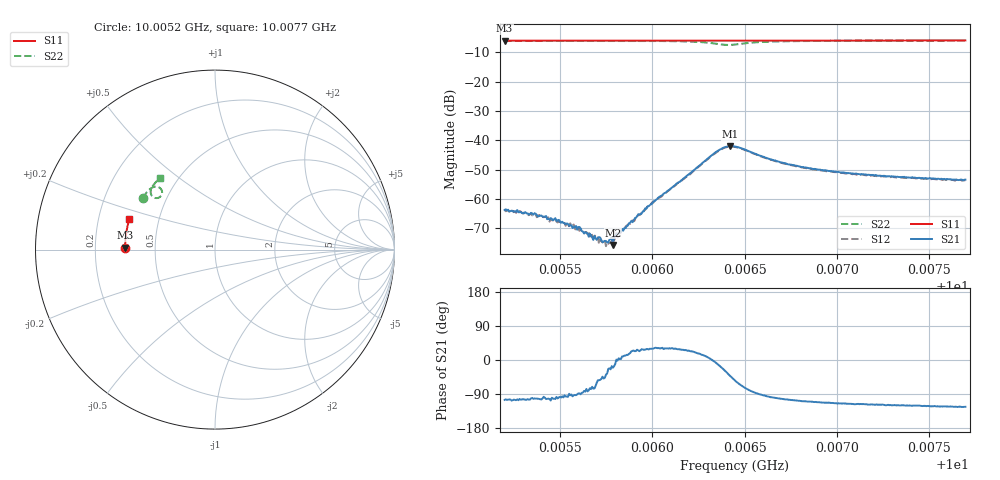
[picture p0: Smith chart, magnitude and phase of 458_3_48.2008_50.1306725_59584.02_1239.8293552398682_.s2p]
#  HZ  S  RI  R  50.00
! Rohde & Schwarz Vector Network Analyzer
! Rohde-Schwarz,ZNB20-2Port,1311601062101988,3.16
! Created: UTC 3/20/2024, 11:56:38 AM
! freq[Hz]  re:S11  im:S11  re:S21  im:S21  re:S12  im:S12  re:S22  im:S22
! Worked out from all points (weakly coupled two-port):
!   401 points, 10.0052 GHz to 10.0077 GHz, reference 50 ohm
!   highest |S21| = -41.99 dB at 10.00642 GHz (marker M1); lowest = -75.7 dB at 10.00579 GHz (marker M2)
!   lowest |S11| = -6.0 dB at 10.0052 GHz (marker M3), VSWR 3.01, Z = 16.6 + j0.438 ohm
!   |S11| at or under -10 dB: nowhere
!   |S22| runs from -7.4 to -6.0 dB; largest |S21 - S12| = 0.0005
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1.0005198e10  -0.5005 0.00986  -0.000171 -0.000626  -0.000187 -0.000634  -0.4023 0.2889
1.0005354e10  -0.5006 0.02  -0.000119 -0.000526  -8.51e-05 -0.000537  -0.3962 0.2982
1.0005423e10  -0.5005 0.0245  -0.000116 -0.000498  -6.94e-05 -0.000488  -0.3933 0.3023
1.0005479e10  -0.5003 0.0281  -5.48e-05 -0.000416  -6.58e-05 -0.000405  -0.3909 0.3056
1.0005561e10  -0.5001 0.0334  -6.82e-06 -0.000352  -3.15e-05 -0.000337  -0.3872 0.3104
1.0005598e10  -0.5002 0.0358  1.04e-05 -0.00033  -1.7e-05 -0.000316  -0.3855 0.3129
1.0005617e10  -0.5002 0.0371  1.66e-05 -0.000282  1.71e-05 -0.000286  -0.3846 0.3139
1.0005679e10  -0.4999 0.0411  4.95e-05 -0.000194  4.28e-05 -0.000214  -0.3814 0.3176
1.0005723e10  -0.4998 0.044  0.000128 -0.000151  0.000122 -0.000144  -0.3791 0.3205
1.0005742e10  -0.4996 0.0452  0.000132 -0.00014  0.000154 -0.000125  -0.3782 0.3216
1.000576e10  -0.4995 0.0464  0.000167 -7.3e-05  0.000149 -8.5e-05  -0.3771 0.3226
1.0005785e10  -0.4996 0.0481  0.000154 -5.7e-05  0.000218 -7.3e-05  -0.3758 0.3245
1.0005923e10  -0.4988 0.0569  0.000489 0.000232  0.000467 0.000284  -0.367 0.3334
1.0006035e10  -0.4983 0.0643  0.000915 0.000565  0.000874 0.00059  -0.3577 0.3407
1.0006341e10  -0.4952 0.084  0.00619 -0.000665  0.00601 -0.000335  -0.298 0.3325
1.0006385e10  -0.4948 0.0866  0.00682 -0.0031  0.00679 -0.00271  -0.2958 0.3099
1.0006423e10  -0.4944 0.0887  0.00584 -0.00539  0.00601 -0.005  -0.308 0.2924
1.0006448e10  -0.4943 0.09  0.00459 -0.00632  0.00486 -0.00598  -0.3209 0.2873
1.0006685e10  -0.4924 0.1054  -0.000852 -0.00424  -0.000669 -0.0042  -0.3577 0.3307
1.0006866e10  -0.4901 0.1169  -0.00112 -0.00307  -0.000984 -0.00305  -0.3496 0.3507
1.0007285e10  -0.4842 0.1432  -0.00119 -0.00213  -0.00105 -0.00215  -0.3281 0.378
1.0007697e10  -0.4767 0.1687  -0.00118 -0.00178  -0.00107 -0.0018  -0.3068 0.3982
